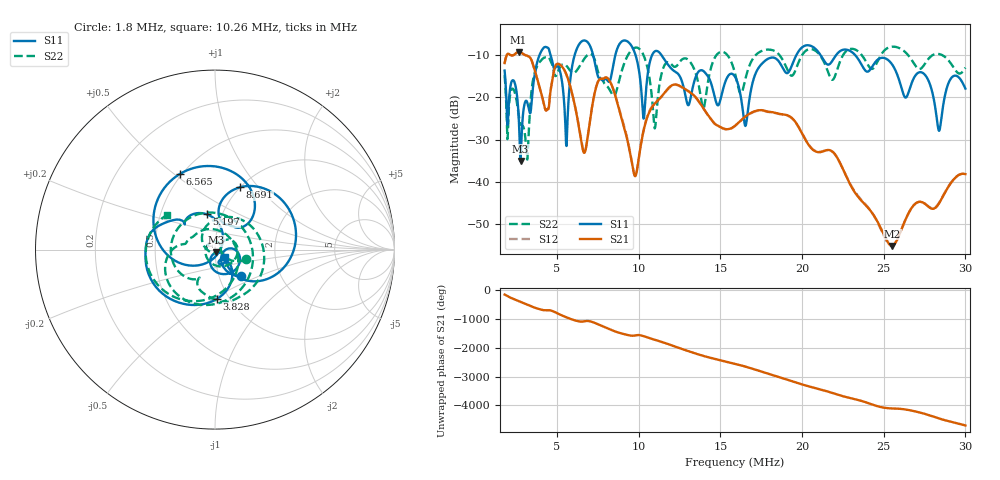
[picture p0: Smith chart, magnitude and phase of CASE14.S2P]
!Agilent Technologies,E5061B,MY49101568,A.02.00
!Date: Wed Mar 01 15:49:03 2023
!Data & Calibration Information:
!Freq	S11:SOLT2(OFF)	S21:SOLT2(OFF)	S12:SOLT2(OFF)	S22:SOLT2(OFF)
# Hz S dB R 50
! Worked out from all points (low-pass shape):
!   1155 points, 1.8 MHz to 30 MHz, reference 50 ohm
!   highest |S21| = -9.27 dB at 2.655 MHz (marker M1); lowest = -55.1 dB at 25.53 MHz (marker M2)
!   |S21| within 3 dB of the highest: start of sweep to 3.539 MHz; 4.961 MHz to 5.183 MHz (222.2 kHz wide, 4.38 % of centre)
!   lowest |S11| = -35.0 dB at 2.777 MHz (marker M3), VSWR 1.04, Z = 50.8 - j1.62 ohm
!   |S11| at or under -10 dB: start of sweep to 3.939 MHz; 11.4 MHz to 19.66 MHz (8.263 MHz wide, 53.2 % of centre); 23.25 MHz to end of sweep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
!   |S22| runs from -34.7 to -8.0 dB; largest |S21 - S12| = 0.0034
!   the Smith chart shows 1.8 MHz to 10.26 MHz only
!   S11 on the Smith chart (normalised r, x): 1.8 MHz: 1.27, -0.39; 3.828 MHz: 0.88, -0.52; 5.197 MHz: 0.85, +0.35; 6.565 MHz: 0.49, +0.52; 8.691 MHz: 1.00, +0.81; 10.26 MHz: 1.11, -0.10
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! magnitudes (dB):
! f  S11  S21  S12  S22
! 1.8 MHz  -13.7  -11.9  -11.9  -14.8
! 2.655 MHz  -24.2  -9.3  -9.3  -24.0
! 2.777 MHz  -35.0  -9.4  -9.4  -26.3
! 3.193 MHz  -21.3  -10.2  -10.2  -34.7
! 3.828 MHz  -11.2  -16.1  -16.1  -12.3
! 5.197 MHz  -13.9  -12.3  -12.2  -12.8
! 5.588 MHz  -31.5  -14.6  -14.7  -12.6
! 6.516 MHz  -6.8  -30.9  -30.6  -11.8
! 6.565 MHz  -6.7  -32.0  -31.6  -11.5
! 7.592 MHz  -15.5  -15.8  -15.8  -15.0
! 8.691 MHz  -8.5  -21.2  -21.0  -17.9
! 9.766 MHz  -9.5  -38.5  -38.6  -8.3
! 10.26 MHz  -23.1  -28.8  -28.6  -9.7
! 11.21 MHz  -9.2  -20.6  -20.6  -18.9
! 13.04 MHz  -21.9  -18.5  -18.6  -11.1
! 15.9 MHz  -15.1  -26.7  -26.8  -14.3
! 16.54 MHz  -26.8  -24.5  -24.6  -15.7
! 20.62 MHz  -8.0  -32.2  -32.1  -8.6
! 25.31 MHz  -11.3  -54.6  -54.6  -8.2
! 25.53 MHz  -12.3  -55.1  -55.1  -8.0
! 28.39 MHz  -27.9  -45.0  -44.9  -9.8
! 30 MHz  -17.9  -38.1  -38.1  -13.0
